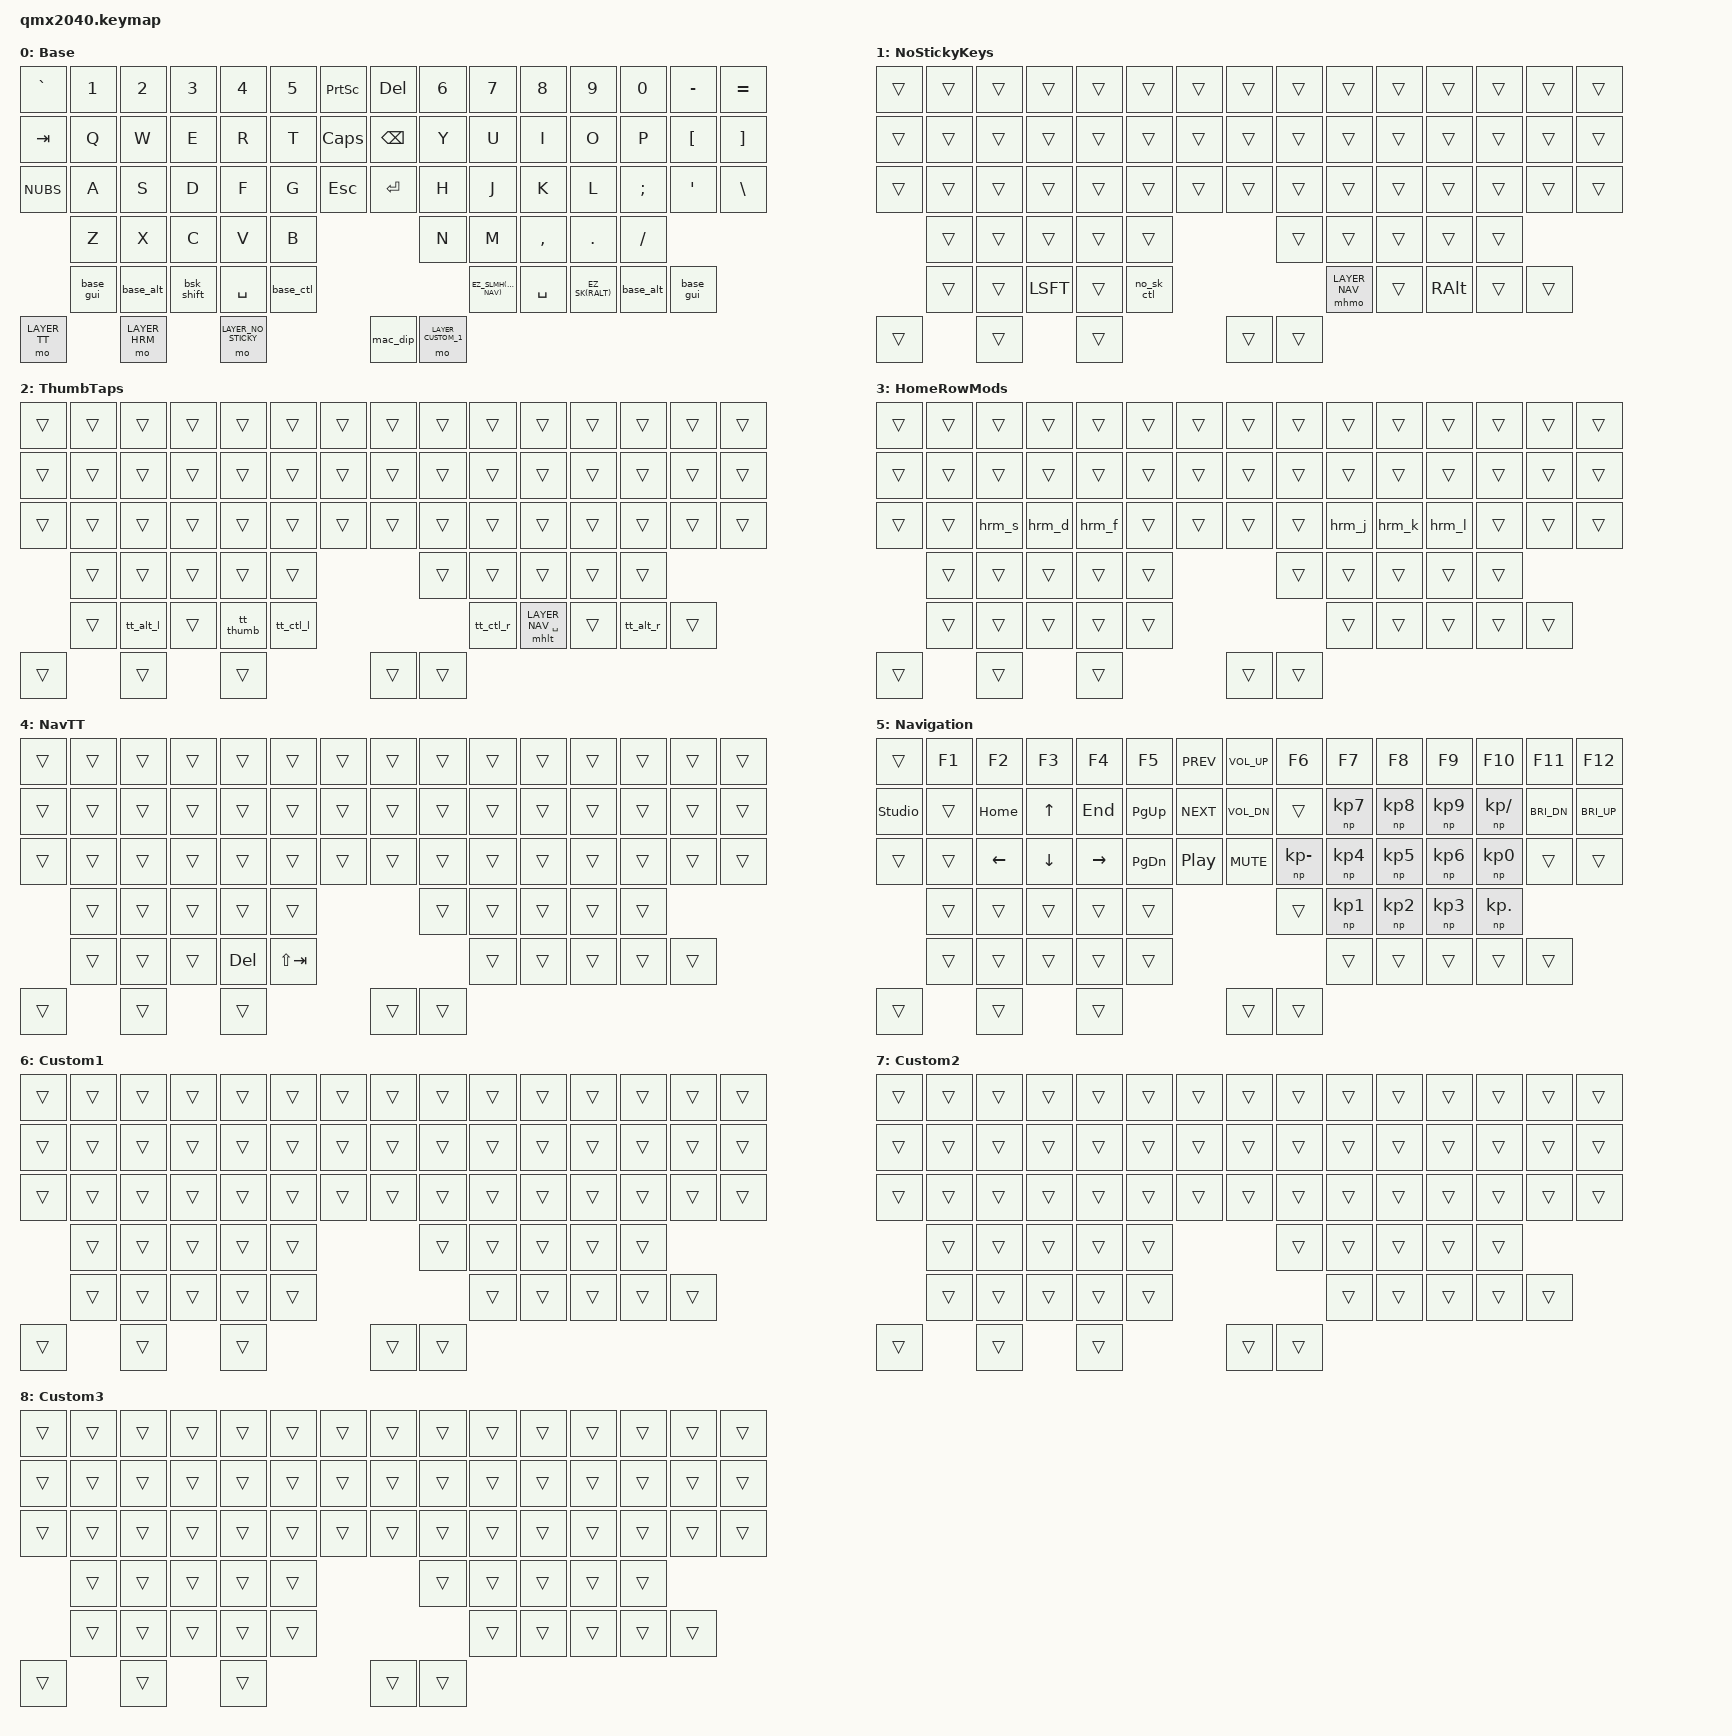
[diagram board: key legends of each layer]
// Standard ZMK headers
#include <behaviors.dtsi>
#include <dt-bindings/zmk/keys.h>
#include <dt-bindings/zmk/pointing.h>

// Community module headers
#include <behaviors/mod-hold.dtsi> // Provides helper macros for the mod-hold behavior
#include <dt-bindings/zmk/oskey.h>
#include <behaviors/oskey.dtsi>

// Timing is key
#define TAPPING_TERM       300
#define SHORT_TAPPING_TERM 150
#define QUICK_TAP          200

// Human-readable layer indexes
#define LAYER_BASE          0
#define LAYER_NO_STICKY     1
#define LAYER_TT            2
#define LAYER_HRM           3
#define LAYER_NAV_TT        4
#define LAYER_NAV           5
#define LAYER_CUSTOM_1      6
#define LAYER_CUSTOM_2      7
#define LAYER_CUSTOM_3      8

// HRM Shorthands
#define HRM_S &hrm LGUI S
#define HRM_D &hrm LCTL D
#define HRM_F &hrm LALT F
#define HRM_J &hrm LALT J
#define HRM_K &hrm LCTL K
#define HRM_L &hrm LGUI L

// HRM Shorthands (mac)
#define MHRM_S &hrm LALT S
#define MHRM_D &hrm LGUI D
#define MHRM_F &hrm LCTL F
#define MHRM_J &hrm LCTL J
#define MHRM_K &hrm LGUI K
#define MHRM_L &hrm LALT L

#define EZ_SL(layer)    bsl   (layer) (layer)
#define EZ_SLMH(layer)  mhbsl (layer) (layer)
#define EZ_SK(mod)      bsk   (mod) (mod)

#define MAC_MORPH(name, base_binding, mac_binding)            \
  name: name {                                                \
    compatible = "zmk,behavior-os-key";                       \
    #binding-cells = <0>;                                     \
    /*               Win            Mac             Lin  */   \
    bindings = <base_binding>, <mac_binding>, <base_binding>; \
  };

&sl { ignore-modifiers; }; // keep one-shot-mods when chained into a one-shot-layer
&sk { quick-release; };    // must-have! (lots of false positives otherwise)

// add our common tap-hold parametesr to the default options
&mt {
  tapping-term-ms = <SHORT_TAPPING_TERM>;
  quick-tap-ms = <QUICK_TAP>;
};

&lt {
  tapping-term-ms = <TAPPING_TERM>;
  quick-tap-ms = <QUICK_TAP>;
};

/ {
  behaviors {
    hrm: homerow_mods {
      compatible = "zmk,behavior-hold-tap";
      #binding-cells = <2>;
      tapping-term-ms = <TAPPING_TERM>;
      quick-tap-ms = <QUICK_TAP>;
      flavor = "tap-preferred";
      bindings = <&kp>, <&kp>;
    };
    sc: space_cadet { // same as lt, but with hold-preferred
      compatible = "zmk,behavior-hold-tap";
      #binding-cells = <2>;
      tapping-term-ms = <SHORT_TAPPING_TERM>;
      quick-tap-ms = <QUICK_TAP>;
      flavor = "hold-preferred";
      bindings = <&mo>, <&kp>;
    };
    // like ZMK's sticky layer (sl) but with a more robust timing
    osl: one_shot_layer {
      compatible = "zmk,behavior-macro-one-param";
      #binding-cells = <1>;
      tap-ms = <0>;
      wait-ms = <0>;
      bindings = <&macro_param_1to1>, <&macro_tap &sl MACRO_PLACEHOLDER>;
    };
    bsl: better_sticky_layer {
      compatible = "zmk,behavior-hold-tap";
      #binding-cells = <2>;
      tapping-term-ms = <TAPPING_TERM>;
      flavor = "tap-preferred";
      bindings = <&mo>, <&osl>;
    };
    // like ZMK's sticky key (sk) but with a more robust timing
    osm: one_shot_modifier {
      compatible = "zmk,behavior-macro-one-param";
      #binding-cells = <1>;
      tap-ms = <0>;
      wait-ms = <0>;
      bindings = <&macro_param_1to1>, <&macro_tap &sk MACRO_PLACEHOLDER>;
    };
    bsk: better_sticky_key {
      compatible = "zmk,behavior-hold-tap";
      #binding-cells = <2>;
      tapping-term-ms = <TAPPING_TERM>;
      flavor = "tap-preferred";
      bindings = <&kp>, <&osm>;
    };

    tt_thumb: tt_thumb {
      compatible = "zmk,behavior-mod-morph";
      #binding-cells = <0>;
      bindings  = <&mhsc LAYER_NAV BSPC>, <&mhlt LAYER_NAV SPC>;
      mods      = <MOD_RALT>;
      keep-mods = <MOD_RALT>;
    };

    np: numpad {
      compatible = "zmk,behavior-numpad";
      #binding-cells = <1>;
    };

    bsk_shift: bsk_shift {
      compatible = "zmk,behavior-mod-morph";
      #binding-cells = <0>;
      bindings  = <&EZ_SK(LSFT)>, <&kp CAPSLOCK>;
      mods      = <MOD_RALT>;
      keep-mods = <MOD_RALT>;
    };

    MOD_HOLD_1(mhmo,  &mo,  0xff)
    MOD_HOLD_2(mhlt,  &lt,  0xff)
    MOD_HOLD_2(mhsc,  &sc,  0xff)
    MOD_HOLD_2(mhbsl, &bsl, 0xff)

    MAC_MORPH(base_gui,  &kp LGUI,       &kp LALT)
    MAC_MORPH(base_alt,  &kp LALT,       &kp LCTL)
    MAC_MORPH(base_ctl,  &EZ_SK(LCTL),   &EZ_SK(LGUI))

    MAC_MORPH(no_sk_ctl, &kp LCTL,       &kp LGUI)

    MAC_MORPH(tt_alt_l,  &mt LALT ESC,   &mt LCTL ESC)
    MAC_MORPH(tt_ctl_l,  &mt LCTL TAB,   &mt LGUI TAB)
    MAC_MORPH(tt_ctl_r,  &mt LCTL ENTER, &mt LGUI ENTER)
    MAC_MORPH(tt_alt_r,  &mt LALT PSCRN, &mt LCTL PSCRN)

    MAC_MORPH(hrm_s,     &hrm LGUI S,    &hrm LALT S)
    MAC_MORPH(hrm_d,     &hrm LCTL D,    &hrm LGUI D)
    MAC_MORPH(hrm_f,     &hrm LALT F,    &hrm LCTL F)
    MAC_MORPH(hrm_j,     &hrm LALT J,    &hrm LCTL J)
    MAC_MORPH(hrm_k,     &hrm LCTL K,    &hrm LGUI K)
    MAC_MORPH(hrm_l,     &hrm LGUI L,    &hrm LALT L)

    os_sel: os_selector {
      compatible = "zmk,behavior-os-selector";
      #binding-cells = <1>;
    };

    mac_dip: macos_dip_switch_selector {
      compatible = "zmk,behavior-macro";
      #binding-cells = <0>;
      tap-ms = <0>;
      wait-ms = <0>;
      bindings = <
        &macro_tap
        &os_sel OS_MAC
        &macro_pause_for_release
        &os_sel OS_LIN
      >;
    };
  };

  conditional_layers {
    compatible = "zmk,conditional-layers";
    nav_tt {
      if-layers = <LAYER_TT LAYER_NAV>;
      then-layer = <LAYER_NAV_TT>;
    };
  };

  keymap {
    compatible = "zmk,keymap";

    base_layer: base_layer {
      display-name = "Base";
      bindings = <
        &kp GRAVE &kp N1 &kp N2 &kp N3 &kp N4 &kp N5 &kp PSCRN   &kp DEL   &kp N6 &kp N7 &kp N8    &kp N9  &kp N0   &kp MINUS &kp EQUAL
        &kp TAB   &kp Q  &kp W  &kp E  &kp R  &kp T  &kp CAPS    &kp BSPC  &kp Y  &kp U  &kp I     &kp O   &kp P    &kp LBKT  &kp RBKT
        &kp NUBS  &kp A  &kp S  &kp D  &kp F  &kp G  &kp ESC     &kp ENTER &kp H  &kp J  &kp K     &kp L   &kp SEMI &kp SQT   &kp BSLH
                  &kp Z  &kp X  &kp C  &kp V  &kp B                        &kp N  &kp M  &kp COMMA &kp DOT &kp FSLH
              &base_gui &base_alt &bsk_shift &kp SPC &base_ctl   &EZ_SLMH(LAYER_NAV) &kp SPC &EZ_SK(RALT) &base_alt &base_gui
           &mo LAYER_TT  &mo LAYER_HRM  &mo LAYER_NO_STICKY  &mac_dip  &mo LAYER_CUSTOM_1
      >;
    };

    no_sticky_layer: no_sticky_layer {
      display-name = "NoStickyKeys";
      bindings = <
        &trans &trans &trans &trans &trans &trans &trans &trans &trans &trans &trans &trans &trans &trans &trans
        &trans &trans &trans &trans &trans &trans &trans &trans &trans &trans &trans &trans &trans &trans &trans
        &trans &trans &trans &trans &trans &trans &trans &trans &trans &trans &trans &trans &trans &trans &trans
               &trans &trans &trans &trans &trans               &trans &trans &trans &trans &trans
               &trans &trans &kp LSFT &trans &no_sk_ctl    &mhmo LAYER_NAV &trans &kp RALT &trans &trans
          &trans  &trans  &trans  &trans  &trans
      >;
    };

    thumb_taps_layer: thumb_taps_layer {
      display-name = "ThumbTaps";
      bindings = <
        &trans &trans &trans &trans &trans &trans &trans &trans &trans &trans &trans &trans &trans &trans &trans
        &trans &trans &trans &trans &trans &trans &trans &trans &trans &trans &trans &trans &trans &trans &trans
        &trans &trans &trans &trans &trans &trans &trans &trans &trans &trans &trans &trans &trans &trans &trans
               &trans &trans &trans &trans &trans                         &trans &trans &trans &trans &trans
           &trans &tt_alt_l &trans &tt_thumb &tt_ctl_l      &tt_ctl_r &mhlt LAYER_NAV SPC &trans &tt_alt_r &trans
          &trans  &trans  &trans  &trans  &trans
      >;
    };

    hrm_layer: hrm_layer {
      display-name = "HomeRowMods";
      bindings = <
        &trans &trans &trans &trans &trans &trans &trans &trans &trans &trans &trans &trans &trans &trans &trans
        &trans &trans &trans &trans &trans &trans &trans &trans &trans &trans &trans &trans &trans &trans &trans
        &trans &trans &hrm_s &hrm_d &hrm_f &trans &trans &trans &trans &hrm_j &hrm_k &hrm_l &trans &trans &trans
               &trans &trans &trans &trans &trans               &trans &trans &trans &trans &trans
               &trans &trans &trans &trans &trans               &trans &trans &trans &trans &trans
          &trans  &trans  &trans  &trans  &trans
      >;
    };

    nav_tt_layer: nav_tt_layer {
      display-name = "NavTT";
      bindings = <
        &trans &trans &trans &trans &trans &trans &trans &trans &trans &trans &trans &trans &trans &trans &trans
        &trans &trans &trans &trans &trans &trans &trans &trans &trans &trans &trans &trans &trans &trans &trans
        &trans &trans &trans &trans &trans &trans &trans &trans &trans &trans &trans &trans &trans &trans &trans
               &trans &trans &trans &trans &trans               &trans &trans &trans &trans &trans
               &trans &trans &trans &kp DEL &kp LS(TAB)         &trans &trans &trans &trans &trans
          &trans  &trans  &trans  &trans  &trans
      >;
    };

    navigation_layer: navigation_layer {
      display-name = "Navigation";
      bindings = <
        &trans         &kp F1  &kp F2   &kp F3   &kp F4    &kp F5    &kp C_PREV &kp C_VOL_UP &kp F6       &kp F7    &kp F8    &kp F9    &kp F10      &kp F11      &kp F12
        &studio_unlock &trans  &kp HOME &kp UP   &kp END   &kp PG_UP &kp C_NEXT &kp C_VOL_DN &trans       &np KP_N7 &np KP_N8 &np KP_N9 &np KP_SLASH &kp C_BRI_DN &kp C_BRI_UP
        &trans         &trans  &kp LEFT &kp DOWN &kp RIGHT &kp PG_DN &kp C_PP   &kp C_MUTE   &np KP_MINUS &np KP_N4 &np KP_N5 &np KP_N6 &np KP_N0    &trans       &trans
                       &trans  &trans   &trans   &trans    &trans                            &trans       &np KP_N1 &np KP_N2 &np KP_N3 &np KP_DOT
                       &trans  &trans   &trans   &trans    &trans                            &trans       &trans &trans &trans &trans
          &trans  &trans  &trans  &trans  &trans
      >;
    };

    custom_layer_1: custom_layer_1 {
      display-name = "Custom1";
      bindings = <
        &trans &trans &trans &trans &trans &trans &trans &trans &trans &trans &trans &trans &trans &trans &trans
        &trans &trans &trans &trans &trans &trans &trans &trans &trans &trans &trans &trans &trans &trans &trans
        &trans &trans &trans &trans &trans &trans &trans &trans &trans &trans &trans &trans &trans &trans &trans
               &trans &trans &trans &trans &trans               &trans &trans &trans &trans &trans
               &trans &trans &trans &trans &trans               &trans &trans &trans &trans &trans
          &trans  &trans  &trans  &trans  &trans
      >;
    };

    custom_layer_2: custom_layer_2 {
      display-name = "Custom2";
      bindings = <
        &trans &trans &trans &trans &trans &trans &trans &trans &trans &trans &trans &trans &trans &trans &trans
        &trans &trans &trans &trans &trans &trans &trans &trans &trans &trans &trans &trans &trans &trans &trans
        &trans &trans &trans &trans &trans &trans &trans &trans &trans &trans &trans &trans &trans &trans &trans
               &trans &trans &trans &trans &trans               &trans &trans &trans &trans &trans
               &trans &trans &trans &trans &trans               &trans &trans &trans &trans &trans
          &trans  &trans  &trans  &trans  &trans
      >;
    };

    custom_layer_3: custom_layer_3 {
      display-name = "Custom3";
      bindings = <
        &trans &trans &trans &trans &trans &trans &trans &trans &trans &trans &trans &trans &trans &trans &trans
        &trans &trans &trans &trans &trans &trans &trans &trans &trans &trans &trans &trans &trans &trans &trans
        &trans &trans &trans &trans &trans &trans &trans &trans &trans &trans &trans &trans &trans &trans &trans
               &trans &trans &trans &trans &trans               &trans &trans &trans &trans &trans
               &trans &trans &trans &trans &trans               &trans &trans &trans &trans &trans
          &trans  &trans  &trans  &trans  &trans
      >;
    };

  };
};
